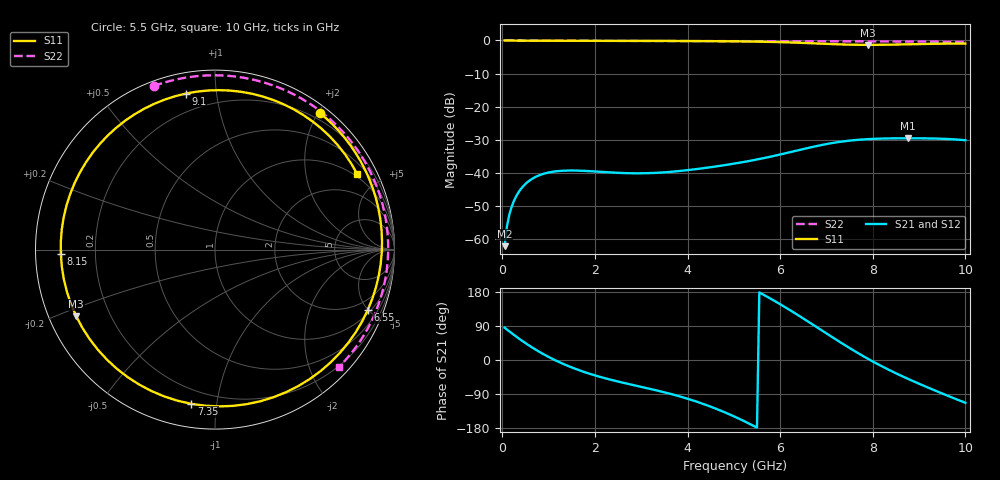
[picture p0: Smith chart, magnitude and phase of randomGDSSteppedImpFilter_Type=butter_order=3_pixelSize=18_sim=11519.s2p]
! freq	dB(S11)	phase(S11)	dB(S12)	phase(S12)
!  dB(S21)	phase(S21)	dB(S22)	phase(S22)
!S-par simulation data
#  GHz  S  DB  R 50
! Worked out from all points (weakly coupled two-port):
!   200 points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, 50 MHz to 10 GHz, reference 50 ohm
!   highest |S21| = -29.60 dB at 8.75 GHz (marker M1); lowest = -62.2 dB at 50 MHz (marker M2)
!   lowest |S11| = -1.3 dB at 7.9 GHz (marker M3), VSWR 13.05, Z = 4.03 - j11.3 ohm
!   |S11| at or under -10 dB: nowhere
!   |S22| runs from -0.4 to 0.0 dB; largest |S21 - S12| = 0
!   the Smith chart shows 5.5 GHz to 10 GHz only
!   S11 on the Smith chart (normalised r, x): 5.5 GHz: 0.10, +2.02; 6.55 GHz: 1.19, -4.95; 7.35 GHz: 0.12, -0.85; 8.15 GHz: 0.08, -0.01; 9.1 GHz: 0.10, +0.83; 10 GHz: 0.89, +3.84
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0.05  -0.00 -6.5  -62.24 85.2  -62.24 85.2  -0.00 -3.2
0.15  -0.03 -19.2  -52.81 75.6  -52.81 75.6  -0.01 -9.4
0.25  -0.05 -31.5  -48.58 66.4  -48.58 66.4  -0.02 -15.6
0.7  -0.09 -80.4  -41.41 28.8  -41.41 28.8  -0.06 -42.9
1.2  -0.10 -120.1  -39.53 -4.0  -39.53 -4.0  -0.09 -71.5
1.75  -0.11 -151.4  -39.44 -30.8  -39.44 -30.8  -0.11 -100.2
2.6  -0.11 172.3  -40.11 -59.8  -40.11 -59.8  -0.14 -139.3
3.4  -0.14 142.9  -39.99 -82.2  -39.99 -82.2  -0.17 -171.8
4.3  -0.19 109.1  -38.73 -114.3  -38.73 -114.3  -0.20 154.3
5.05  -0.27 76.2  -37.17 -151.3  -37.17 -151.3  -0.22 126.9
5.5  -0.36 52.6  -36.02 -178.5  -36.02 -178.5  -0.24 110.6
6.1  -0.55 14.1  -34.18 139.9  -34.18 139.9  -0.25 88.8
6.55  -0.77 -21.6  -32.69 105.7  -32.69 105.7  -0.26 72.5
6.7  -0.86 -35.0  -32.21 93.9  -32.21 93.9  -0.27 67.1
7.35  -1.22 -98.7  -30.56 42.8  -30.56 42.8  -0.28 43.8
7.9  -1.33 -154.4  -29.85 2.8  -29.85 2.8  -0.29 24.4
8.15  -1.32 -178.3  -29.70 -13.7  -29.70 -13.7  -0.29 15.8
8.35  -1.28 163.4  -29.64 -26.1  -29.64 -26.1  -0.30 9.0
8.75  -1.17 129.0  -29.60 -49.2  -29.60 -49.2  -0.32 -4.3
9.1  -1.07 100.5  -29.62 -68.0  -29.62 -68.0  -0.34 -15.6
9.55  -0.96 64.7  -29.77 -91.0  -29.77 -91.0  -0.38 -29.7
10  -0.94 27.8  -30.19 -112.9  -30.19 -112.9  -0.44 -43.4
